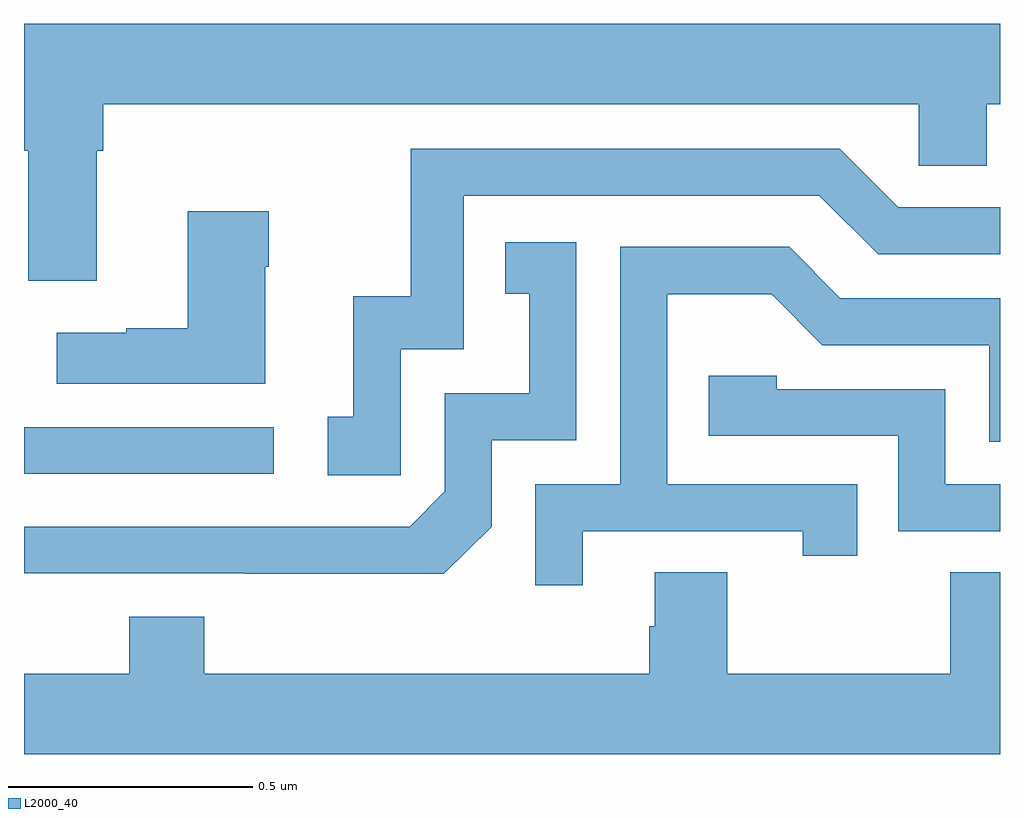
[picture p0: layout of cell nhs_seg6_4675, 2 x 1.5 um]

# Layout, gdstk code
import gdstk
lib = gdstk.Library(unit=1e-6, precision=1e-09)
def R(c, l, rs):  # rectangles x0, y0, x1, y1
    for r in rs: c.add(gdstk.rectangle(r[:2], r[2:], *l))
def P(c, l, *ps):  # polygons
    for p in ps: c.add(gdstk.Polygon(p, *l))
L2000_40 = (2000, 40)

nhs_seg6_4675 = lib.new_cell('nhs_seg6_4675')
R(nhs_seg6_4675, L2000_40, [(173,933.258,173.512,933.354)])
P(nhs_seg6_4675, L2000_40, [(173.149,933.92),(173.162,933.92),(173.162,934.016),(174.834,934.016),(174.834,933.889),(174.973,933.889),(174.973,934.016),(175,934.016),(175,934.18),(173,934.18),(173,933.92),(173.009,933.92),(173.009,933.654),(173.149,933.654)],
  [(173.772,933.513),(173.901,933.513),(173.901,933.828),(174.63,933.828),(174.75,933.708),(175,933.708),(175,933.804),(174.792,933.804),(174.672,933.924),(173.793,933.924),(173.793,933.622),(173.675,933.622),(173.675,933.375),(173.622,933.375),(173.622,933.255),(173.772,933.255)],
  [(173.494,933.683),(173.502,933.683),(173.502,933.796),(173.336,933.796),(173.336,933.557),(173.21,933.557),(173.21,933.547),(173.067,933.547),(173.067,933.443),(173.494,933.443)],
  [(173.958,933.15),(173.958,933.327),(174.132,933.327),(174.132,933.733),(173.986,933.733),(173.986,933.627),(174.035,933.627),(174.035,933.423),(173.862,933.423),(173.862,933.222),(173.79,933.15),(173,933.15),(173,933.054),(173.452,933.054),(173.452,933.053),(173.86,933.053)],
  [(174.145,933.141),(174.596,933.141),(174.596,933.09),(174.707,933.09),(174.707,933.237),(174.318,933.237),(174.318,933.626),(174.532,933.626),(174.636,933.522),(174.978,933.522),(174.978,933.324),(175,933.324),(175,933.618),(174.673,933.618),(174.568,933.723),(174.222,933.723),(174.222,933.237),(174.048,933.237),(174.048,933.03),(174.145,933.03)],
  [(175,933.237),(174.888,933.237),(174.888,933.432),(174.543,933.432),(174.543,933.459),(174.403,933.459),(174.403,933.336),(174.792,933.336),(174.792,933.141),(175,933.141)],
  [(175,933.056),(174.898,933.056),(174.898,932.848),(174.441,932.848),(174.441,933.056),(174.293,933.056),(174.293,932.946),(174.281,932.946),(174.281,932.848),(173.369,932.848),(173.369,932.965),(173.216,932.965),(173.216,932.848),(173,932.848),(173,932.684),(175,932.684)])

lib.write_gds('nhs_seg6_4675.gds')
